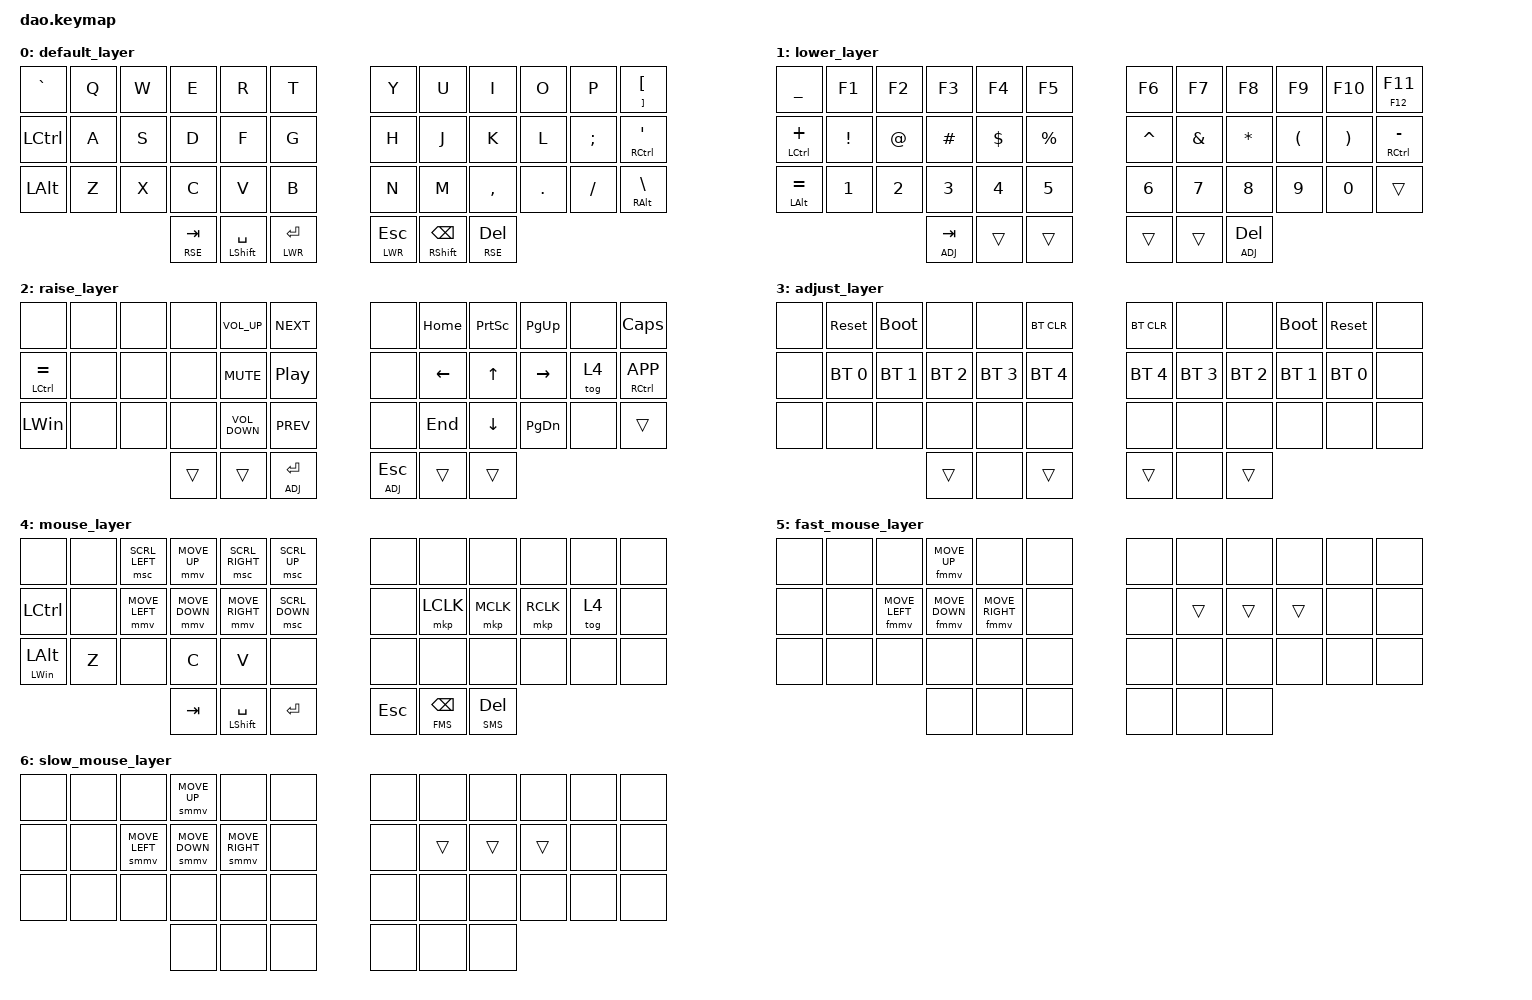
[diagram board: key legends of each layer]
/*
 * Copyright (c) 2021 Rafael Yumagulov
 *
 * SPDX-License-Identifier: MIT
 */

#include <behaviors.dtsi>
#include <behaviors/mouse_keys.dtsi>
#include <dt-bindings/zmk/keys.h>
#include <dt-bindings/zmk/mouse.h>
#include <dt-bindings/zmk/bt.h>

#define DEF 0
#define LWR 1
#define RSE 2
#define ADJ 3
#define MSV 4
#define FMS 5
#define SMS 6

#define ZMK_MOUSE_DEFAULT_MOVE_VAL 1000  // 600
#define ZMK_MOUSE_DEFAULT_SCRL_VAL 20   // 10

&lt { quick_tap_ms = <200>; };
&mt { quick_tap_ms = <200>; };

&mmv {
    acceleration-exponent = <1>;  // 1
    time-to-max-speed-ms = <300>; // 300
    delay-ms = <0>;
    trigger-period-ms = <8>;      // 16
};
&msc {
    acceleration-exponent = <1>;  // 0
    time-to-max-speed-ms = <40>;  // 300
    delay-ms = <0>;
    trigger-period-ms = <8>;      // 16
};

/ {
    chosen {
        zmk,matrix_transform = &default_transform;
        // zmk,matrix_transform = &extra_keys_transform;
    };
};

/ {
            behaviors {
            // Mouse 
            //  acceleration
            fmmv: fast_mouse_move {
                compatible = "zmk,behavior-input-two-axis";
                #binding-cells = <1>;
                x-input-code = <INPUT_REL_X>;
                y-input-code = <INPUT_REL_Y>;
                acceleration-exponent = <1>;  // 1
                time-to-max-speed-ms = <300>; // 300
                delay-ms = <0>;
                trigger-period-ms = <16>;      // 16
            };
            //  deceleration
            smmv: slow_mouse_move {
                compatible = "zmk,behavior-input-two-axis";
                #binding-cells = <1>;
                x-input-code = <INPUT_REL_X>;
                y-input-code = <INPUT_REL_Y>;
                acceleration-exponent = <1>;  // 1
                time-to-max-speed-ms = <300>; // 300
                delay-ms = <0>;
                trigger-period-ms = <16>;      // 16
            };
        };

            // Mouse 
        //  acceleration
        fmmv_input_listener: fmmv_input_listener {
            compatible = "zmk,input-listener";
            device = <&fmmv>;
            scale-multiplier = <3>;
            scale-divisor = <1>;
        };
        //  deceleration
        smmv_input_listener: smmv_input_listener {
            compatible = "zmk,input-listener";
            device = <&smmv>;
            scale-multiplier = <1>;
            scale-divisor = <3>;
        };

    keymap {
        compatible = "zmk,keymap";

        default_layer {
            bindings = <
        &kp GRAVE     &kp Q  &kp W  &kp E        &kp R            &kp T          &kp Y        &kp U           &kp I        &kp O    &kp P     &mt RBKT LBKT
        &kp LCTRL     &kp A  &kp S  &kp D        &kp F            &kp G          &kp H        &kp J           &kp K        &kp L    &kp SEMI  &mt RCTRL SQT
        &kp LEFT_ALT  &kp Z  &kp X  &kp C        &kp V            &kp B          &kp N        &kp M           &kp COMMA    &kp DOT  &kp FSLH  &mt RALT BSLH
                                    &lt RSE TAB  &mt LSHFT SPACE  &lt LWR RET    &lt LWR ESC  &mt RSHFT BSPC  &lt RSE DEL
            >;
        };

        lower_layer {
            bindings = <
        &kp UNDER       &kp F1    &kp F2  &kp F3       &kp F4    &kp F5       &kp F6     &kp F7    &kp F8       &kp F9    &kp F10   &mt F12 F11
        &mt LCTRL PLUS  &kp EXCL  &kp AT  &kp HASH     &kp DLLR  &kp PRCNT    &kp CARET  &kp AMPS  &kp STAR     &kp LPAR  &kp RPAR  &mt RCTRL MINUS
        &mt LALT EQUAL  &kp N1    &kp N2  &kp N3       &kp N4    &kp N5       &kp N6     &kp N7    &kp N8       &kp N9    &kp N0    &trans
                                          &lt ADJ TAB  &trans    &trans       &trans     &trans    &lt ADJ DEL
            >;
        };

        raise_layer {
            bindings = <
        &none            &none  &none  &none   &kp C_VOLUME_UP    &kp C_NEXT          &none        &kp HOME  &kp PSCRN  &kp PG_UP  &none   &kp CAPS
        &mt LCTRL EQUAL  &none  &none  &none   &kp C_MUTE         &kp C_PLAY_PAUSE    &none        &kp LEFT  &kp UP     &kp RIGHT  &tog 4  &mt RCTRL K_APP
        &kp LWIN         &none  &none  &none   &kp C_VOLUME_DOWN  &kp C_PREV          &none        &kp END   &kp DOWN   &kp PG_DN  &none   &trans
                                       &trans  &trans             &lt ADJ RET         &lt ADJ ESC  &trans    &trans
            >;
        };

        adjust_layer {
            bindings = <
        &none   &sys_reset      &bootloader     &none         &none         &bt BT_CLR      &bt BT_CLR    &none         &none         &bootloader   &sys_reset    &none      
        &none   &bt BT_SEL 0    &bt BT_SEL 1    &bt BT_SEL 2  &bt BT_SEL 3  &bt BT_SEL 4    &bt BT_SEL 4  &bt BT_SEL 3  &bt BT_SEL 2  &bt BT_SEL 1  &bt BT_SEL 0  &none
        &none   &none           &none           &none         &none         &none           &none         &none         &none         &none         &none         &none
                                                &trans        &none         &trans          &trans        &none         &trans
            >;
        };

        mouse_layer {
            bindings = <
        &none        &none   &msc SCRL_LEFT    &mmv MOVE_UP    &msc SCRL_RIGHT    &msc SCRL_UP      &none       &none      &none      &none      &none      &none
        &kp LCTRL    &none   &mmv MOVE_LEFT    &mmv MOVE_DOWN  &mmv MOVE_RIGHT    &msc SCRL_DOWN    &none       &mkp LCLK  &mkp MCLK  &mkp RCLK  &tog 4     &none
        &mt LWIN LEFT_ALT    &kp Z   &none     &kp C           &kp V              &none             &none       &none      &none      &none      &none      &none
                                               &kp TAB         &mt LSHFT SPACE    &kp RET           &kp ESC     &lt FMS BSPC   &lt SMS DEL
            >;
        };

        fast_mouse_layer {
            bindings = <
        &none   &none   &none               &fmmv MOVE_UP   &none               &none       &none   &none   &none   &none   &none    &none
        &none   &none   &fmmv MOVE_LEFT     &fmmv MOVE_DOWN &fmmv MOVE_RIGHT    &none       &none   &trans  &trans  &trans  &none    &none
        &none   &none   &none               &none           &none               &none       &none   &none   &none   &none   &none    &none
                                            &none           &none               &none       &none   &none   &none
            >;
        };

        slow_mouse_layer {
            bindings = <
        &none   &none   &none               &smmv MOVE_UP   &none               &none       &none   &none   &none   &none   &none    &none
        &none   &none   &smmv MOVE_LEFT     &smmv MOVE_DOWN &smmv MOVE_RIGHT    &none       &none   &trans  &trans  &trans  &none    &none
        &none   &none   &none               &none           &none               &none       &none   &none   &none   &none   &none    &none
                                            &none           &none               &none       &none   &none   &none
            >;
        };
    };
};
